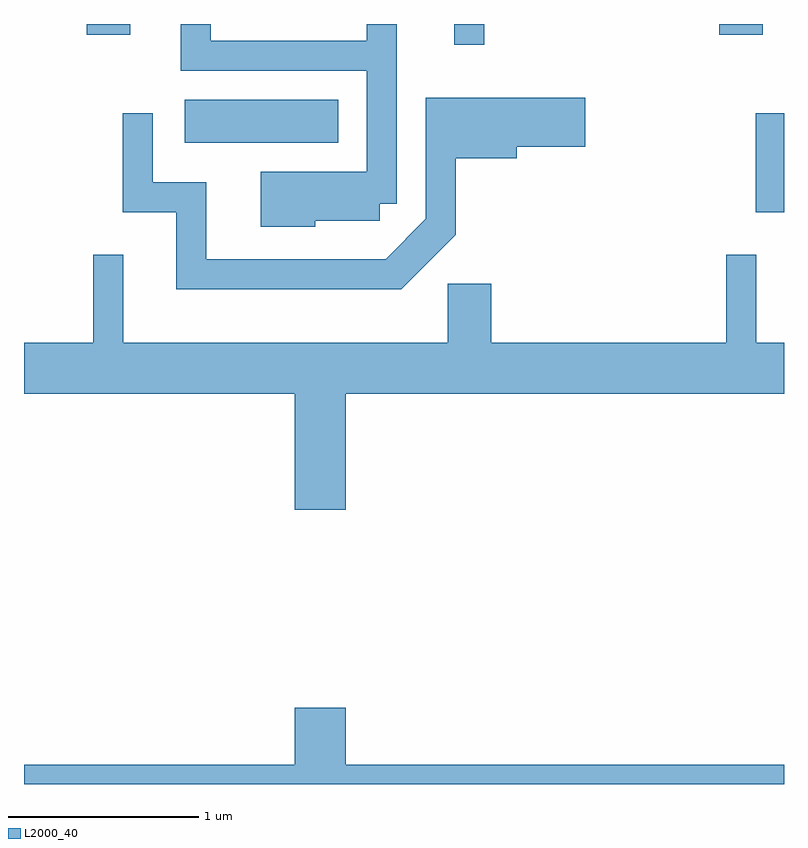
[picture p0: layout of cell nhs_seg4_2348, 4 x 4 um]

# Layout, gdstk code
import gdstk
lib = gdstk.Library(unit=1e-6, precision=1e-09)
def R(c, l, rs):  # rectangles x0, y0, x1, y1
    for r in rs: c.add(gdstk.rectangle(r[:2], r[2:], *l))
def P(c, l, *ps):  # polygons
    for p in ps: c.add(gdstk.Polygon(p, *l))
L2000_40 = (2000, 40)

nhs_seg4_2348 = lib.new_cell('nhs_seg4_2348')
R(nhs_seg4_2348, L2000_40, [(257.461,1328.991,257.611,1329.513), (254.456,1329.356,255.264,1329.584), (255.876,1329.873,256.034,1329.982), (253.941,1329.926,254.169,1329.982), (257.271,1329.926,257.499,1329.982)])
P(nhs_seg4_2348, L2000_40, [(255.144,1328.946),(255.484,1328.946),(255.484,1329.036),(255.574,1329.036),(255.574,1329.982),(255.416,1329.982),(255.416,1329.894),(254.594,1329.894),(254.594,1329.982),(254.436,1329.982),(254.436,1329.736),(255.416,1329.736),(255.416,1329.204),(254.856,1329.204),(254.856,1328.916),(255.144,1328.916)],
  [(255.884,1328.874),(255.884,1329.276),(256.204,1329.276),(256.204,1329.336),(256.564,1329.336),(256.564,1329.594),(255.726,1329.594),(255.726,1328.957),(255.514,1328.744),(254.569,1328.744),(254.569,1329.149),(254.289,1329.149),(254.289,1329.513),(254.131,1329.513),(254.131,1328.991),(254.411,1328.991),(254.411,1328.586),(255.597,1328.586)],
  [(254.134,1328.768),(253.976,1328.768),(253.976,1328.304),(253.611,1328.304),(253.611,1328.036),(255.036,1328.036),(255.036,1327.426),(255.304,1327.426),(255.304,1328.036),(257.611,1328.036),(257.611,1328.304),(257.464,1328.304),(257.464,1328.768),(257.306,1328.768),(257.306,1328.304),(256.069,1328.304),(256.069,1328.614),(255.841,1328.614),(255.841,1328.304),(254.134,1328.304)],
  [(257.611,1326.084),(255.304,1326.084),(255.304,1326.384),(255.036,1326.384),(255.036,1326.084),(253.611,1326.084),(253.611,1325.982),(257.611,1325.982)])

lib.write_gds('nhs_seg4_2348.gds')
